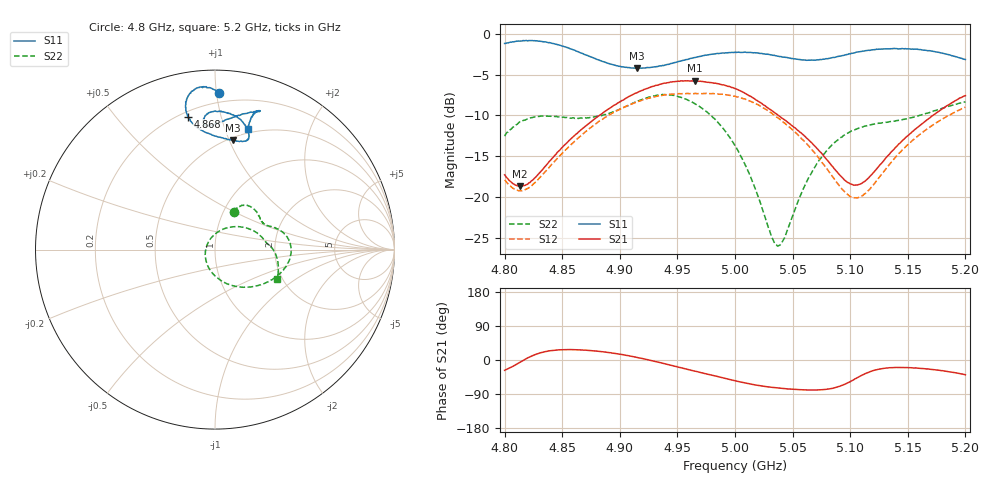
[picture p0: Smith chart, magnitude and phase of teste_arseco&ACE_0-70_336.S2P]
! Network Analyzer HP8722D
! Hewlett-Packard
! Data name: Linha & Wilkinson
! Saver's name: Rodrigo Anjos
! Comments: Teste da utilização de aquisição
! continua pelo VNA HP8722D
! Time and date: 8/5/2025 15:33
!  Frequency  S11  S21  S12  S22
# HZ  S  MA R 50
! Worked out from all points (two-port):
!   401 points, 4.8 GHz to 5.2 GHz, reference 50 ohm
!   highest |S21| = -5.74 dB at 4.965 GHz (marker M1); lowest = -18.7 dB at 4.813 GHz (marker M2)
!   |S21| within 3 dB of the highest: 4.895 GHz to 5.025 GHz (130.1 MHz wide, 2.62 % of centre); 5.184928 GHz to end of sweep
!   lowest |S11| = -4.2 dB at 4.915 GHz (marker M3), VSWR 4.21, Z = 26.2 + j51.4 ohm
!   |S11| at or under -10 dB: nowhere
!   |S22| runs from -26.0 to -7.4 dB; largest |S21 - S12| = 0.89
!   S11 on the Smith chart (normalised r, x): 4.8 GHz: 0.14, +1.02; 4.868 GHz: 0.23, +0.79; 5.2 GHz: 0.46, +1.20
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4.8e9  0.8728 88.6  0.1369 -27.1  0.1275 100.4  0.2361 63.8
4.813e9  0.9025 92.4  0.1164 -6.5  0.1093 118.2  0.2886 59.0
4.843e9  0.8694 99.9  0.1784 25.7  0.1643 149.6  0.3113 41.1
4.867e9  0.7592 101.5  0.2605 26.3  0.2402 153.5  0.3044 30.4
4.868e9  0.756 101.5  0.2643 26.2  0.2439 153.5  0.3041 30.2
4.894e9  0.648 93.1  0.3607 18.2  0.3284 148.3  0.3328 22.9
4.915e9  0.6158 80.8  0.4359 6.6  0.383 140.0  0.3844 15.2
4.934e9  0.6336 73.9  0.4882 -6.1  0.4185 129.6  0.4214 3.2
4.965e9  0.7151 76.4  0.5162 -29.4  0.4313 110.1  0.3738 -23.6
4.984e9  0.757 82.2  0.4965 -42.8  0.4286 97.7  0.2928 -44.9
5e9  0.7721 87.4  0.4621 -54.6  0.415 86.4  0.2064 -68.9
5.019e9  0.7637 92.4  0.391 -66.7  0.3703 73.3  0.1058 -110.0
5.032e9  0.7417 94.4  0.3388 -72.1  0.3261 66.3  0.05671 -160.9
5.037e9  0.7307 94.8  0.3191 -73.9  0.3067 63.9  0.05007 166.1
5.043e9  0.7189 95.1  0.2977 -75.5  0.2848 61.8  0.05634 129.0
5.067e9  0.6908 92.8  0.2139 -79.1  0.1943 57.7  0.143 59.3
5.083e9  0.7104 87.7  0.1589 -75.7  0.1386 62.9  0.2038 37.3
5.103e9  0.7627 79.3  0.1184 -52.1  0.09912 90.3  0.257 19.7
5.115e9  0.7908 75.3  0.1294 -33.4  0.1081 111.4  0.2748 13.1
5.134e9  0.8083 72.4  0.183 -20.4  0.1583 125.9  0.2896 7.5
5.17e9  0.7857 74.1  0.3091 -24.6  0.2712 120.6  0.332 -2.3
5.2e9  0.696 74.7  0.4185 -38.9  0.3561 109.0  0.383 -25.5
